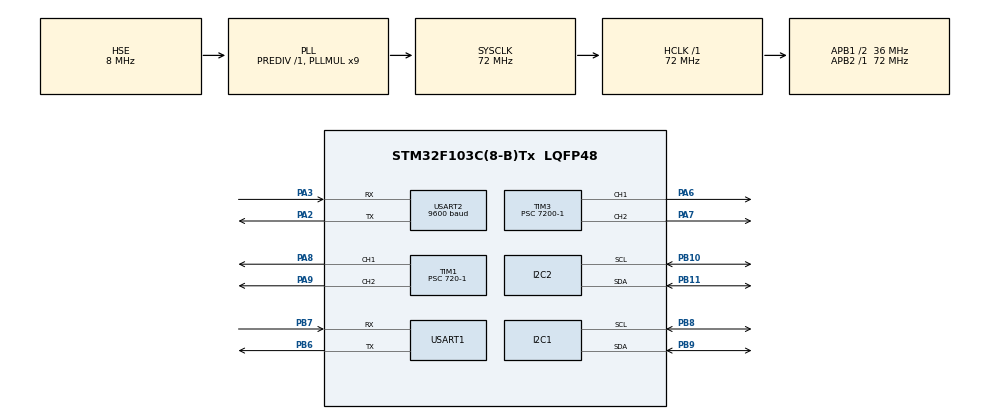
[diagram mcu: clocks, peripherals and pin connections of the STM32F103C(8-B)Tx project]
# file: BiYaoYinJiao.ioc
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Dma.Request0=USART1_RX
Dma.Request1=USART1_TX
Dma.USART1_RX.0.Direction=DMA_PERIPH_TO_MEMORY
Dma.USART1_RX.0.Instance=DMA1_Channel5
Dma.USART1_RX.0.MemDataAlignment=DMA_MDATAALIGN_BYTE
Dma.USART1_RX.0.MemInc=DMA_MINC_ENABLE
Dma.USART1_RX.0.Mode=DMA_NORMAL
Dma.USART1_RX.0.PeriphDataAlignment=DMA_PDATAALIGN_BYTE
Dma.USART1_RX.0.PeriphInc=DMA_PINC_DISABLE
Dma.USART1_RX.0.Priority=DMA_PRIORITY_LOW
Dma.USART1_TX.1.Direction=DMA_MEMORY_TO_PERIPH
Dma.USART1_TX.1.Instance=DMA1_Channel4
Dma.USART1_TX.1.MemDataAlignment=DMA_MDATAALIGN_BYTE
Dma.USART1_TX.1.MemInc=DMA_MINC_ENABLE
Dma.USART1_TX.1.Mode=DMA_NORMAL
Dma.USART1_TX.1.PeriphDataAlignment=DMA_PDATAALIGN_BYTE
Dma.USART1_TX.1.PeriphInc=DMA_PINC_DISABLE
Dma.USART1_TX.1.Priority=DMA_PRIORITY_LOW
Mcu.Family=STM32F1
Mcu.Name=STM32F103C(8-B)Tx
Mcu.Package=LQFP48
NVIC.DMA1_Channel4_IRQn=true\:1\:0\:true\:false\:true\:false\:true\:true
NVIC.DMA1_Channel5_IRQn=true\:1\:0\:true\:false\:true\:false\:true\:true
NVIC.PriorityGroup=NVIC_PRIORITYGROUP_4
NVIC.RTC_Alarm_IRQn=true\:0\:0\:false\:false\:true\:true\:true\:true
NVIC.USART1_IRQn=true\:1\:0\:true\:false\:true\:true\:true\:true
PA13.Mode=Serial_Wire
PA13.Signal=SYS_JTMS-SWDIO
PA14.Mode=Serial_Wire
PA14.Signal=SYS_JTCK-SWCLK
PA2.Mode=Asynchronous
PA2.Signal=USART2_TX
PA3.Mode=Asynchronous
PA3.Signal=USART2_RX
PA6.Signal=S_TIM3_CH1
PA7.Signal=S_TIM3_CH2
PA8.Signal=S_TIM1_CH1
PA9.Signal=S_TIM1_CH2
PB10.Mode=I2C
PB10.Signal=I2C2_SCL
PB11.Mode=I2C
PB11.Signal=I2C2_SDA
PB6.Mode=Asynchronous
PB6.Signal=USART1_TX
PB7.Mode=Asynchronous
PB7.Signal=USART1_RX
PB8.Mode=I2C
PB8.Signal=I2C1_SCL
PB9.Mode=I2C
PB9.Signal=I2C1_SDA
PC14-OSC32_IN.Mode=LSE-External-Oscillator
PC14-OSC32_IN.Signal=RCC_OSC32_IN
PC15-OSC32_OUT.Mode=LSE-External-Oscillator
PC15-OSC32_OUT.Signal=RCC_OSC32_OUT
PD0-OSC_IN.Mode=HSE-External-Oscillator
PD0-OSC_IN.Signal=RCC_OSC_IN
PD1-OSC_OUT.Mode=HSE-External-Oscillator
PD1-OSC_OUT.Signal=RCC_OSC_OUT
ProjectManager.HeapSize=0x200
ProjectManager.StackSize=0x400
ProjectManager.TargetToolchain=MDK-ARM V5
RCC.AHBFreq_Value=72000000
RCC.APB1CLKDivider=RCC_HCLK_DIV2
RCC.APB1Freq_Value=36000000
RCC.APB1TimFreq_Value=72000000
RCC.APB2Freq_Value=72000000
RCC.APB2TimFreq_Value=72000000
RCC.HCLKFreq_Value=72000000
RCC.PLLMUL=RCC_PLL_MUL9
RCC.PLLSourceVirtual=RCC_PLLSOURCE_HSE
RCC.RTCClockSelection=RCC_RTCCLKSOURCE_LSE
RCC.SYSCLKFreq_VALUE=72000000
RCC.SYSCLKSource=RCC_SYSCLKSOURCE_PLLCLK
RCC.USBFreq_Value=72000000
RTC.Format=RTC_FORMAT_BIN
SH.S_TIM1_CH1.0=TIM1_CH1,PWM Generation1 CH1
SH.S_TIM1_CH2.0=TIM1_CH2,PWM Generation2 CH2
SH.S_TIM3_CH1.0=TIM3_CH1,PWM Generation1 CH1
SH.S_TIM3_CH2.0=TIM3_CH2,PWM Generation2 CH2
TIM1.Channel-PWM\ Generation1\ CH1=TIM_CHANNEL_1
TIM1.Channel-PWM\ Generation2\ CH2=TIM_CHANNEL_2
TIM1.Period=100-1
TIM1.Prescaler=720-1
TIM3.Channel-PWM\ Generation1\ CH1=TIM_CHANNEL_1
TIM3.Channel-PWM\ Generation2\ CH2=TIM_CHANNEL_2
TIM3.Period=200-1
TIM3.Prescaler=7200-1
USART1.VirtualMode=VM_ASYNC
USART2.BaudRate=9600
USART2.VirtualMode=VM_ASYNC
VP_RTC_VS_RTC_Activate.Mode=RTC_Enabled
VP_TIM1_VS_ClockSourceINT.Mode=Internal
VP_TIM3_VS_ClockSourceINT.Mode=Internal
board=custom

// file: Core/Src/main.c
/* USER CODE BEGIN Header */
/**
  ******************************************************************************
  * @file           : main.c
  * @brief          : Main program body
  ******************************************************************************
  * @attention
  *
  * Copyright (c) 2025 STMicroelectronics.
  * All rights reserved.
  *
  * This software is licensed under terms that can be found in the LICENSE file
  * in the root directory of this software component.
  * If no LICENSE file comes with this software, it is provided AS-IS.
  *
  ******************************************************************************
  */
/* USER CODE END Header */
#include "main.h"
#include "dma.h"
#include "i2c.h"
#include "rtc.h"
#include "tim.h"
#include "usart.h"
#include "gpio.h"

/* USER CODE BEGIN Includes */
#include <string.h>
#include "stdio.h"
#include "bh1750.h"
#include "oled.h"
#include "pwm-dj.h"
#include "pwm_duoji.h"
#include "sht30.h"
#include "bsp_aliyun.h"
#include "setdate.h"

/* USER CODE END Includes */

/* USER CODE BEGIN PV */
    uint8_t usart1_RX1[512] = {0};                   //串口3接收数据缓冲区
    uint8_t uart1_rec_flag = 0;                      //串口3接收完成中断
    //extern uint8_t time_received;

    int mode = 0;
    //手动控制模式 0
    //自动阈值模式 1
    //预约时间阈值模式 2

    //控制模块全局变量
    //电机空调（风扇TI_CH1）	舵机窗帘（直流电机马达TI_CH2）
    int ktnum = 0;			int clnum = 0;
    //舵机窗户（SG90舵机T3_CH1）	电机Led灯光(T3_CH2)
    int chnum = 0;			int lednum = 0;

    //默认阈值全局变量
    float temp_yuzhi = 20.0;	//温度全局变量
    float hum_yuzhi = 20.0;	//湿度全局变量
    int Lux_yuzhi = 30;		//光照阈值

/* USER CODE END PV */

void SystemClock_Config(void);
/* USER CODE BEGIN PFP */
//int find_param(char* str, char* keyword);
    char* find_param(char* str, ParamExtract* param);   //寻找参数值的函数
    void process_message(char* message);    //接收数据处理函数
   // int Alarm_process(char* time);          //预约模式下设置闹钟

/* USER CODE END PFP */

/* USER CODE BEGIN 0 */

//      uint8_t tt,mm;    ///调试用
//      char nn[20];
//      char *oo;

/* USER CODE END 0 */

int main(void)
{

  /* USER CODE BEGIN 1 */

    uint16_t post_time_count = 0;                  //定时任务变量

  /* USER CODE END 1 */

  /* MCU Configuration--------------------------------------------------------*/

  /* Reset of all peripherals, Initializes the Flash interface and the Systick. */
  HAL_Init();

  /* Configure the system clock */
  SystemClock_Config();

  /* Initialize all configured peripherals */
  MX_GPIO_Init();
  MX_DMA_Init();
  MX_I2C1_Init();
  MX_I2C2_Init();
  MX_TIM1_Init();
  MX_TIM3_Init();
  MX_USART1_UART_Init();
  MX_USART2_UART_Init();
  MX_RTC_Init();
  /* USER CODE BEGIN 2 */
  //初始化一定要放在后面
	SET_L_mode();	//设置光照 低分辨率连续模式
    HAL_Delay(5);
	DJ_init();
    HAL_Delay(5);
	duoji_init();
    HAL_Delay(5);	//防止oled初始化不正确，比如初始化为反转180度
  	OLED_Init();

//	//初始化温湿度传感器
	SendHandCommand();  // 温湿度 sht30发送Hand命令
    HAL_Delay(5);

    OLED_ShowStr(28,16,(uint8_t *)"enable...",2);

/*

*/
    HAL_UARTEx_ReceiveToIdle_DMA(&huart1,usart1_RX1,sizeof(usart1_RX1)); //启动DMA接收，第三个参数是指最多能接收的字节数量
	__HAL_DMA_DISABLE_IT(&hdma_usart1_rx, DMA_IT_HT);                    //关闭DMA过半中断

    HAL_Delay(500);
	ESP8266_Init();                                //初始化ESP8266模块,连接WIFI
	OLED_ShowStr(0,48,(uint8_t *)"W",2);
	OLED_RefreshRAM();     //更新缓冲区

    //获取实时时间
    send_time_request(&huart1);
    OLED_ShowStr(0,48,(uint8_t *)"WT",2);
    HAL_Delay(100);

    Aliyun_Connect();                              //连接阿里云服务器                                  //清除屏幕内容
	OLED_ShowStr(0,48,(uint8_t *)"WTA",2);
    HAL_Delay(100);
    OLED_CLS();
    OLED_ClearRAM();    //清除缓冲区
	OLED_RefreshRAM();     //更新缓冲区

    OLED_ShowStr(28,16,(uint8_t *)"Aliyun is",2);
	OLED_ShowStr(28,32,(uint8_t *)"connected",2);
	OLED_RefreshRAM();     //更新缓冲区
    HAL_Delay(500);

    OLED_CLS();
    OLED_ClearRAM();    //清除缓冲区
    OLED_RefreshRAM();     //更新缓冲区

	//RTC 时间变量
	char dateStr[20];
    char timeStr[20];
    RTC_TimeTypeDef sTime;
    RTC_DateTypeDef sDate;

	//温度和湿度变量
	float humidity = 0.0;
    float temperature = 0.0;
    char display_str[32];  // 用于存储拼接后的字符串

	//光照数据
	int Lux;
	char display_Lux[20];

    RTC_AlarmTypeDef sAlarm;    //获取已设置的闹钟时间
      char alarm_str[10];

	/*  初始化引脚状态为高电平。使能TB6612 电机驱动模块*/
    HAL_GPIO_WritePin(DJ_EN_GPIO_Port, DJ_EN_Pin, GPIO_PIN_SET);
    //tim3 channel2 调试，其他正常，就CHANNEL2不正常输出
//    __HAL_TIM_SET_COMPARE(&htim3,TIM_CHANNEL_2,150);
//    __HAL_TIM_SET_COMPARE(&htim3,TIM_CHANNEL_1,150);
	__HAL_TIM_SET_COMPARE(&htim3,TIM_CHANNEL_2,150);
    __HAL_TIM_SET_COMPARE(&htim3,TIM_CHANNEL_1,150);
    HAL_Delay(500);
    __HAL_TIM_SET_COMPARE(&htim3,TIM_CHANNEL_2,0);
    __HAL_TIM_SET_COMPARE(&htim3,TIM_CHANNEL_1,0);

  /* USER CODE END 2 */

  /* Infinite loop */
  /* USER CODE BEGIN WHILE */
  while (1)
  {

    if(++post_time_count >= 30)        //50大概1.5秒，根据里面的延迟计算        //定时上传数据，更改上传频率可适当改小此阈值，
    {

        post_time_count = 0;

        //#######################################
        //BH1750光照传感器感知数据
        Lux = 0;

        Lux = lightSensorLux();
        Lux = Lux/10;
        //printf("light:%d Lux\n",Lux);
        sprintf(display_Lux, "Lux:%2d%%", Lux);

        /** #####################################
        温湿度数据，使用串口通信的SHT30模块
        */
        //上电后没有温湿度数据，按复位键就好，推测为5v和3.3v共地问题，重新启动单片机使信号地共地即可
        HAL_Delay(5);
        char* data = ReceiveData();  // 发送Read命令并接收数据
          //printf("%s\n",data);
        ParseReceivedData(data, &temperature, &humidity);  // 解析数据
        sprintf(display_str, "T:%.1fC H:%.1f%%", temperature, humidity);

        /** #####################################
        OLED show fun	128x64
        汉字：16x16
        英文：8x16	6x8
        */
        HAL_Delay(5);
        //注意时间的BIN格式和BCD格式区分，两种格式的解析方式不同，以下方式为BIN格式读取的解析
        HAL_RTC_GetTime(&hrtc, &sTime, RTC_FORMAT_BIN);
        HAL_RTC_GetDate(&hrtc, &sDate, RTC_FORMAT_BIN);

//        int year = sDate.Year;
//        int month = sDate.Month;
//        int date = sDate.Date;
//        int hours = sTime.Hours;
//        int min = sTime.Minutes;
        // 将 BIN 格式的日期和时间转换为字符串
        snprintf(dateStr, sizeof(dateStr), "20%2u-%2u-%2u", sDate.Year, sDate.Month, sDate.Date);      //01d%标识宽度为1，和下方showstr函数对应
        snprintf(timeStr, sizeof(timeStr), "%2u:%2u", sTime.Hours, sTime.Minutes);  //时分秒："%01d:%01d:%01d", sTime.Hours, sTime.Minutes, sTime.Seconds
//        snprintf(dateStr, sizeof(dateStr), "%02hhu-%02hhu-%02hhu", sDate.Year, sDate.Month, sDate.Date);
//        snprintf(timeStr, sizeof(timeStr), "%02hhu:%02hhu", sTime.Hours, sTime.Minutes);
        // 在 OLED 上显示日期和时间
        //OLED_ShowChinese(0,0,(unsigned char *)"时间");	//必须是中文的：
        OLED_ShowStr(0, 0, (unsigned char *)"Timer:", 2);
        OLED_ShowStr(60, 0, (unsigned char *)dateStr, 1);  // 在 OLED 上显示日期，TextSize 为 1
        OLED_ShowStr(72, 9, (unsigned char *)timeStr, 1); 	// 在 OLED 上显示时间，TextSize 为 1 秒是乱的，但分钟准确
        OLED_ShowStr(0, 16, (unsigned char*)display_str, 2);	//显示温湿度数据
        OLED_ShowStr(0, 32, (unsigned char*)display_Lux, 2);	//显示光照数据
//                 HAL_RTC_GetAlarm(&hrtc, &sAlarm, RTC_ALARM_A, RTC_FORMAT_BIN);
//                snprintf(alarm_str, sizeof(alarm_str),"%02u:%02u",sAlarm.AlarmTime.Hours,sAlarm.AlarmTime.Minutes);
//                OLED_ShowStr(64, 48, (unsigned char*)alarm_str, 2);

//                snprintf(nn, sizeof(nn),"%02u:%02u",tt,mm);
//                OLED_ShowStr(0, 48, (unsigned char*)nn, 2);     //调试

        switch(mode){
            case 0: OLED_ShowStr(64, 32, (unsigned char*)"HAND", 2);break;
            case 1: OLED_ShowStr(64, 32, (unsigned char*)"AUTO", 2);break;
            case 2: {
                OLED_ShowStr(64, 32, (unsigned char*)"TIME", 2);
                HAL_RTC_GetAlarm(&hrtc, &sAlarm, RTC_ALARM_A, RTC_FORMAT_BIN);
                snprintf(alarm_str, sizeof(alarm_str),"%02u:%02u",sAlarm.AlarmTime.Hours,sAlarm.AlarmTime.Minutes);
                OLED_ShowStr(64, 48, (unsigned char*)alarm_str, 2);
                break; }
        }
		//OLED_ClearRAM();    //清除缓冲区
        OLED_RefreshRAM();     //更新缓冲区

        memset(dateStr, 0, sizeof(dateStr));  // 清空整个字符串数组
        memset(timeStr, 0, sizeof(timeStr));  // 清空整个字符串数组
        memset(display_str, 0, sizeof(display_str));  // 清空整个字符串数组
        memset(display_Lux, 0, sizeof(display_Lux));  // 清空整个字符串数组
        //printf("oled ok \n\r");
        //printf("%s\n%s\n\r",dateStr,timeStr);

        //###############################
        //上传温度，湿度，光照
        Send_Dat_2_Aliyun(temperature, humidity, Lux);

        //###############################
        //自动阈值反应操作
        if(mode == 1){

            if(Lux < Lux_yuzhi-10){  //默认30
                led_set(199);
                HAL_Delay(1);
            }else if(Lux < Lux_yuzhi){
                led_set(99);
                HAL_Delay(1);
            }else if(Lux > Lux_yuzhi){
                led_set(0);
                HAL_Delay(1);
            }

            if(temperature > temp_yuzhi+10){   //默认20.0
                DJ_set(1,1,59); //空调，冷风，开大，
                HAL_Delay(1);
            }else if(temperature > temp_yuzhi){
                DJ_set(1,1,29);
                HAL_Delay(1);
            }else if(temperature < temp_yuzhi-10){
                DJ_set(1,2,29);
                HAL_Delay(1);
            }else if(temperature < temp_yuzhi){
                DJ_set(1,2,59);
                HAL_Delay(1);
            }

            //这里没有加湿器，湿度阈值没有意义。
//            if(humidity > hum_yuzhi){   //默认20.0
//
//            }

        }
     }

/** #####################################
控制电机和舵机,19有点转不动，29吧，刚好
不要长时间驱动，TB6612撑不住，发热就会卡顿
*/
//HAL_Delay(5);	//这些delay函数及其重要，是为了确保上一步控制完成，
//	  DJ_set(0,1,39);	// 0/1/电机，0/1/2/停车/正转/反转，0-99速度
//HAL_Delay(5);	//必须加delay，不然会出现，控制无效的现象，就是应为没有给延迟，让上一步操作进行完成。
//	  DJ_set(1,1,39);
//HAL_Delay(5); 		//类似于完成后退出执行delay，然后重新进入下一个控制，防止连续的进行控制，可能会导致只有最后一个控制有效
//	  duoji_set(15);	//范围 4-24	，定时器3通道1，PA6
//	  //printf("djdj ok \n\r");
//

    if(uart1_rec_flag != 0)
    {
        uart1_rec_flag = 0;
        //处理下发的数据，并做出相应操作。
        process_message((char*)usart1_RX1);     //该函数逻辑测试正常

        //这里返回控制过后的状态
        Send_led_dat(mode);            //将数据上传至阿里云
    }

    /* USER CODE END WHILE */

  }
}

void SystemClock_Config(void)
{
  RCC_OscInitTypeDef RCC_OscInitStruct = {0};
  RCC_ClkInitTypeDef RCC_ClkInitStruct = {0};
  RCC_PeriphCLKInitTypeDef PeriphClkInit = {0};

  /** Initializes the RCC Oscillators according to the specified parameters
  * in the RCC_OscInitTypeDef structure.
  */
  RCC_OscInitStruct.OscillatorType = RCC_OSCILLATORTYPE_HSE|RCC_OSCILLATORTYPE_LSE;
  RCC_OscInitStruct.HSEState = RCC_HSE_ON;
  RCC_OscInitStruct.HSEPredivValue = RCC_HSE_PREDIV_DIV1;
  RCC_OscInitStruct.LSEState = RCC_LSE_ON;
  RCC_OscInitStruct.HSIState = RCC_HSI_ON;
  RCC_OscInitStruct.PLL.PLLState = RCC_PLL_ON;
  RCC_OscInitStruct.PLL.PLLSource = RCC_PLLSOURCE_HSE;
  RCC_OscInitStruct.PLL.PLLMUL = RCC_PLL_MUL9;
  if (HAL_RCC_OscConfig(&RCC_OscInitStruct) != HAL_OK)
  {
    Error_Handler();
  }

  /** Initializes the CPU, AHB and APB buses clocks
  */
  RCC_ClkInitStruct.ClockType = RCC_CLOCKTYPE_HCLK|RCC_CLOCKTYPE_SYSCLK
                              |RCC_CLOCKTYPE_PCLK1|RCC_CLOCKTYPE_PCLK2;
  RCC_ClkInitStruct.SYSCLKSource = RCC_SYSCLKSOURCE_PLLCLK;
  RCC_ClkInitStruct.AHBCLKDivider = RCC_SYSCLK_DIV1;
  RCC_ClkInitStruct.APB1CLKDivider = RCC_HCLK_DIV2;
  RCC_ClkInitStruct.APB2CLKDivider = RCC_HCLK_DIV1;

  if (HAL_RCC_ClockConfig(&RCC_ClkInitStruct, FLASH_LATENCY_2) != HAL_OK)
  {
    Error_Handler();
  }
  PeriphClkInit.PeriphClockSelection = RCC_PERIPHCLK_RTC;
  PeriphClkInit.RTCClockSelection = RCC_RTCCLKSOURCE_LSE;
  if (HAL_RCCEx_PeriphCLKConfig(&PeriphClkInit) != HAL_OK)
  {
    Error_Handler();
  }
}

/* USER CODE BEGIN 4 */

    void HAL_UARTEx_RxEventCallback(UART_HandleTypeDef *huart, uint16_t Size)
{
	if(huart->Instance == USART1)
	{
		//HAL_UART_Transmit(&huart1,usart1_RX1,Size,10);                        //串口1打印接受的数据

		//char *pos_test = strstr((char*)usart1_RX1, "+MQTTSUBRECV");           //阿里云下发指令由+MQTTSUBRECV开头，由此判断此数据应该调用那个回调函数
		char *pos_test = strstr((char*)usart1_RX1, "set");              //这里改为set是因为，数据上报还会有返回的ack确认信息，会造成解析拥堵，最终无法控制，只是用set解析控制命令的数据，解决这一问题
        if(pos_test != NULL){
			uart1_rec_flag = 1;
		}

        // 检查 NTP 数据，若存在+IPD内容，则说明此数据是NTP时间，调用时间设置回调函数
//        char *ntp_pos = strstr((char*)usart1_RX1, "+IPD");
//        if (ntp_pos != NULL) {
//            char* ntp_data = strchr(ntp_pos, ':') + 1;
//            uint32_t epoch_time = parse_ntp_time((uint8_t*)ntp_data);
//            if (epoch_time > 0) {
//                set_rtc_time(&hrtc, epoch_time); // 注意：hrtc 需外部传入
//                time_received = 1;
//            }
//        }

        // 检查 SNTP 数据,最终选用SNTP方式获取实时时间。
        char *sntp_pos = strstr((char*)usart1_RX1, "+CIPSNTPTIME:");
        if (sntp_pos != NULL) {
            process_sntp_data(&huart1, &hrtc);
        }

		HAL_UARTEx_ReceiveToIdle_DMA(&huart1,usart1_RX1,sizeof(usart1_RX1));  //重新打开DMA接收
		__HAL_DMA_DISABLE_IT(&hdma_usart1_rx, DMA_IT_HT);                     //关闭DMA过半中断
	}
}

// 原函数，只能提取整数类型的参数
//int find_param(char* str, char* keyword)
//{
//	char* pos = strstr(str, keyword);
//	int num = -1;    //如果没找到，默认返回值-1
//
//	if (pos != NULL)
//	{
//		pos += strlen(keyword);
//		while (*pos != ':'){
//			pos++; //寻找冒号,定位到参数起始位置
//		}
//
//		pos++;  //跳过冒号
//		char param_value[100];
//		int i = 0;
//
//		while(*pos != ',' && *pos != '}'){
//			param_value[i++] = *pos++; //提取参数,直到遇到逗号或者右花括号
//		}
//		param_value[i] = '\0';
//		num = atoi(param_value);
//	}
//
//	return num;
//}
// 修改后的 find_param 函数
char* find_param(char* str, ParamExtract* param)
{
    char* pos = strstr(str, param->keyword);
    if (pos != NULL)
    {
        pos += strlen(param->keyword);
        while (*pos != ':' && *pos != '\0') {
            pos++;
        }

        if (*pos == '\0') return NULL;

        pos++;
        int i = 0;

        while (*pos != ',' && *pos != '}' && *pos != '\0' && i < param->max_len - 1) {
            param->value[i++] = *pos++;
        }
        param->value[i] = '\0';
        return param->value;
    }

    return NULL;
}

//process_message 函数
void process_message(char* message)
{
    // 定义需要提取的参数列表
    Param params[] = {
        //设置需要提取的参数名称
        {"mode", ""},
        {"Time", ""},   //预约时间设置
        {"ktnum", ""},  //手动空调设置
        {"clnum", ""},  //手动窗帘设置
        {"chnum", ""},  //手动窗户设置
        {"lednum", ""}, //手动灯光设置
        {"temp_yuzhi", ""}, //温度阈值设置    默认阈值20.0
        {"hum_yuzhi", ""},  //湿度阈值设置    默认阈值20.0
        {"Lux_yuzhi", ""}  //光照阈值设置     默认阈值30

    };
    int param_count = sizeof(params) / sizeof(params[0]);   //提取的次数

    // 提取所有参数
    for (int i = 0; i < param_count; i++) {
        ParamExtract extract = {params[i].keyword, params[i].value, 100};
        if (find_param(message, &extract) == NULL) {
            params[i].value[0] = '\0';  // 没找到时清空
        }
    }

    sscanf(params[0].value,"%d",&mode); //赋值mode

    // 根据参数值执行逻辑
    //mode参数处理
    if (strcmp(params[0].value, "0") == 0) {  // mode:0 手动
        //处理手动模式下需要操作的内容
        int num[4]={-1,-1,-1,-1};
        sscanf(params[2].value,"%d",&num[0]);
        sscanf(params[3].value,"%d",&num[1]);
        sscanf(params[4].value,"%d",&num[2]);
        sscanf(params[5].value,"%d",&num[3]);

        //程序测试正常，
        //空调控制,方向，速度 ，两位数，第一位是方向，1为正，>1为反。第二位是转速
        if(num[0] != -1){
            int fx = num[0]/10; //方向，求第一个数
            if(fx >=2) fx = 2;  //不能用0做判断，在解析数据时，06的数据会被解析为6
            else if(fx <=1) fx = 1;
            int zs = 10*(num[0]%10); //转速，求第二个数
            //电机编号，0/1/2停止，正传，反转，转速
            DJ_set(1,fx,zs); //第1个，正传，0-99
            HAL_Delay(1);
        }
        //程序测试正常
        //窗帘控制，上，上半，下，下半，0/1/2/3
        if(num[1] != -1){
            if(num[1] == 0){    //上
                DJ_set(2,1,49);
                HAL_Delay(500);
                DJ_set(2,1,0); //关闭
                HAL_Delay(1);
            }else if(num[1] == 1){ //上半
                DJ_set(2,1,49);
                HAL_Delay(250);
                DJ_set(2,1,0);//关闭
                HAL_Delay(1);
            }else if(num[1] == 2){  //下
                DJ_set(2,2,49);
                HAL_Delay(500);
                DJ_set(2,2,0); //关闭
                HAL_Delay(1);
            }else if(num[1] == 3){  //下半
                DJ_set(2,2,49);
                HAL_Delay(250);
                DJ_set(2,2,0); //关闭
                HAL_Delay(1);
            }
        }
        //程序测试正常
        //窗户控制，开，中，关,0/1/2
        if(num[2] != -1){
            if(num[2] == 0){
                num[2] = 4;
            }else if(num[2] == 1){
                num[2] = 12;
            }else if(num[2] == 2){
                num[2] = 24;
            }
            duoji_set(1,num[2]); //第一个，0-199，有效范围4-24,对应2.5%-12.5% 的pwm
            HAL_Delay(1);
        }

        //灯光控制 ，亮度0-99
        if(num[3] != -1){
            num[3]*=2;
            if(num[3] > 199) num[3] = 199;
            else if(num[3] < 0 ) num[3] = 0;
            //duoji_set(2,num[3]); //第二个，4-24
            led_set(num[3]);
            //duoji_set(2,150); //第二个，4-24
            HAL_Delay(1);
        }
    }
    else if (strcmp(params[0].value, "1") == 0) {  // mode:1 自动阈值
        //自动模式下需要设置的内容

        sscanf(params[6].value,"%f",&temp_yuzhi);
        //sscanf(params[7].value,"%f",&hum_yuzhi);  //湿度阈值没有意义，因为没有对应的执行器。
        sscanf(params[8].value,"%d",&Lux_yuzhi);

//    temp_yuzhi = atof(params[6].value);
//    hum_yuzhi  = atof(params[7].value);
//    Lux_yuzhi  = atoi(params[8].value);

    }else if (strcmp(params[0].value, "2") == 0) {  // mode:2 预约模式
        //处理预约模式下需要操作的内容
        //设置预约闹钟数据的处理和设置，并设置中断触发预约启动。
         uint8_t hour = 0,min = 0;
        sscanf(params[1].value, "\"%hhu:%hhu\"", &hour, &min);     // params[1].value = "13:23" 带双引号
//         tt = hour;
//        mm = min;
        //oo    = params[1].value;

         __HAL_RTC_ALARM_CLEAR_FLAG(&hrtc, RTC_FLAG_ALRAF);  //清除之前的闹钟标志

        if(hour != 0 && min != 0){
            //将预约数据设置为闹钟时间，作为预约触发的时间。
            RTC_AlarmTypeDef sAlarm = {0};
            sAlarm.AlarmTime.Hours = hour;
            sAlarm.AlarmTime.Minutes = min;
            sAlarm.AlarmTime.Seconds = 0;  // 秒可以根据需要设置
            sAlarm.Alarm = RTC_ALARM_A;     //设置闹钟ID

            //中断方式设置闹钟。
            HAL_RTC_SetAlarm_IT(&hrtc, &sAlarm, RTC_FORMAT_BIN);
        }

        HAL_Delay(1);

    }
    memset(usart1_RX1, 0, sizeof(usart1_RX1));  //检测结束，赋值为空，防止重复检测

}

/*
闹钟设定函数，接收上位机下发的定时数据，处理并设置给闹钟。
*/
//int Alarm_process(char* time){
//    // 提取小时和分钟
//    uint8_t hour = 0xFF,min = 0xFF;
//    //uint8_t hour = 20,min = 11;
//     //char alarm_str[10];
//    sscanf(time, "%hhu:%hhu", &hour, &min);
//             tt = hour;
//        mm = min;
//
//
//    __HAL_RTC_ALARM_CLEAR_FLAG(&hrtc, RTC_FLAG_ALRAF);  //清除之前的闹钟标志

//
//    if(hour != 0xFF && min != 0xFF){
//        //将预约数据设置为闹钟时间，作为预约触发的时间。
//        RTC_AlarmTypeDef sAlarm = {0};
//        sAlarm.AlarmTime.Hours = hour;
//        sAlarm.AlarmTime.Minutes = min;
//        sAlarm.AlarmTime.Seconds = 0;  // 秒可以根据需要设置
//        sAlarm.Alarm = RTC_ALARM_A;     //设置闹钟ID
//
//        //中断方式设置闹钟。
//        if (HAL_RTC_SetAlarm_IT(&hrtc, &sAlarm, RTC_FORMAT_BIN) != HAL_OK) {
//            return -1;
//        }
////         snprintf(alarm_str, sizeof(alarm_str),"%02u:%02u",hour,min);
////        OLED_ShowStr(0, 48, (unsigned char*)alarm_str, 2);

//    }

//    return 0;
//}

void HAL_RTC_AlarmAEventCallback(RTC_HandleTypeDef *hrtc)
{
    // 这里是闹钟触发后的处理逻辑
    //预约模式触发，设置运行模式为自动模式
    mode = 1;
}

/* USER CODE END 4 */

void Error_Handler(void)
{
  __disable_irq();
  while (1)
  {
  }
}
